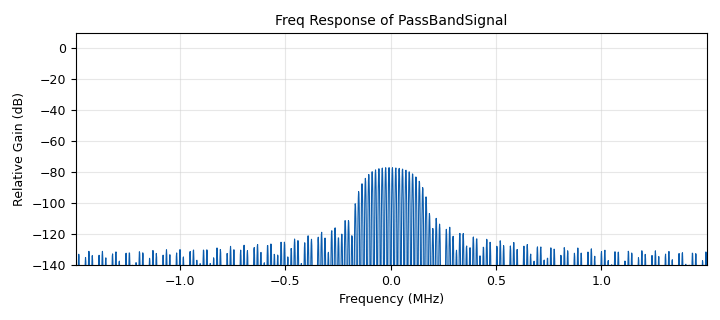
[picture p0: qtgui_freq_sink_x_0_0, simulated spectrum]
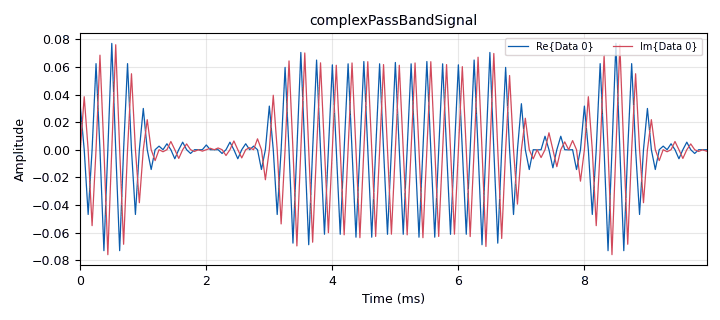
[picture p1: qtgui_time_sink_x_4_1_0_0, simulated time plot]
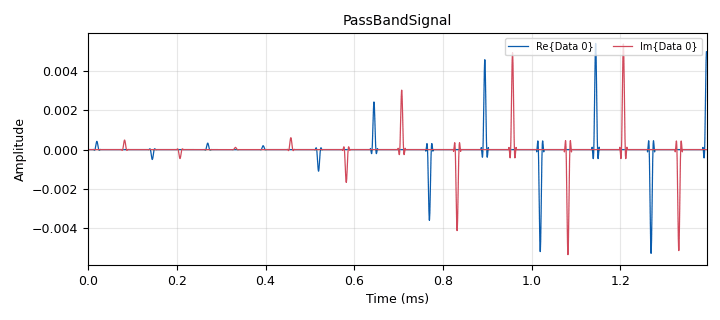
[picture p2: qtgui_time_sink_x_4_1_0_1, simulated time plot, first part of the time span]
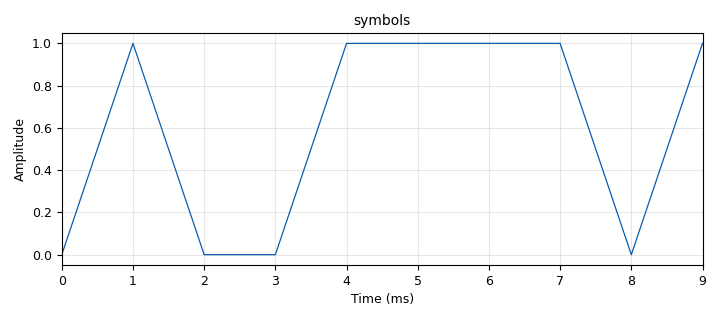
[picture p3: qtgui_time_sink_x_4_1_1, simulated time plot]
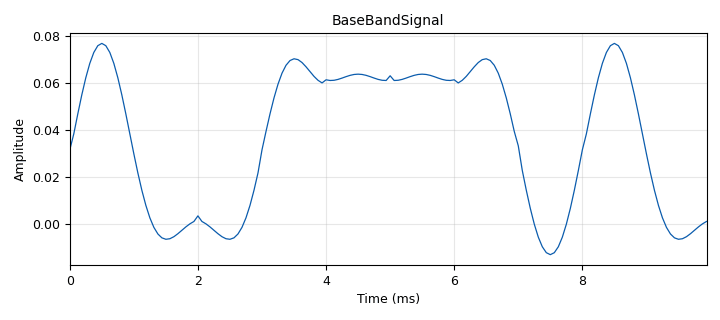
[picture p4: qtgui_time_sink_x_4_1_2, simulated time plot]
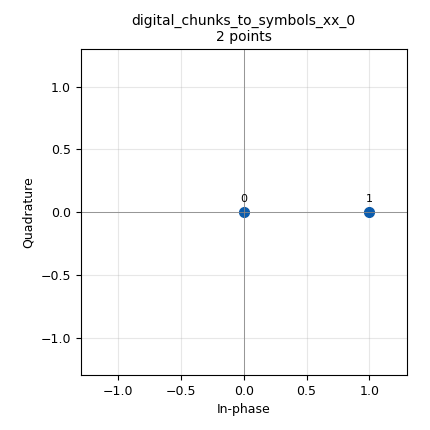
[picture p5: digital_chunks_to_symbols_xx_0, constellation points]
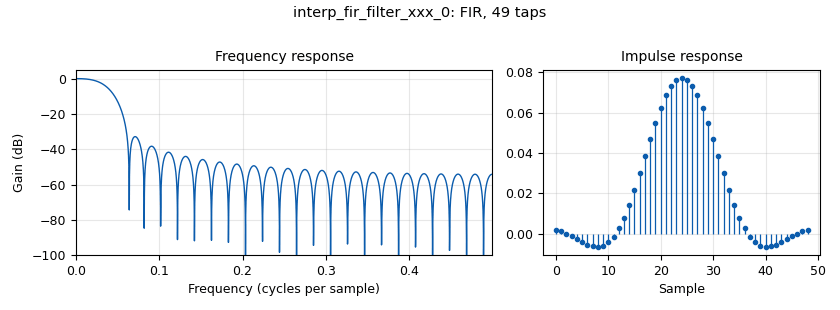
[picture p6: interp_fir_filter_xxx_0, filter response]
options:
  parameters:
    generate_options: qt_gui
    id: ASK_grFlowgraph
    output_language: python
    title: Not titled yet
  states: {}

blocks:
- name: Mhz
  id: variable
  parameters:
    value: 1000*1000
  states: {}
- name: RF_BW
  id: variable
  parameters:
    value: 2*1000*1000
  states: {}
- name: exess_bw
  id: variable
  parameters:
    value: '0.85'
  states: {}
- name: fc
  id: variable
  parameters:
    value: samp_rate/4
  states: {}
- name: interpolation_factor
  id: variable
  parameters:
    value: 8*2
  states: {}
- name: lpf0_taps
  id: variable
  parameters:
    value: numpy.array ( firdes.root_raised_cosine(1,samp_rate,symbol_rate, exess_bw,48 ))
  states: {}
- name: numOfPoints
  id: variable
  parameters:
    value: 10*interpolation_factor
  states: {}
- name: rrc_taps
  id: variable
  parameters:
    value: numpy.array ( firdes.root_raised_cosine(1,samp_rate,symbol_rate, exess_bw,48 ))
  states: {}
- name: samp_rate
  id: variable
  parameters:
    value: int(symbol_rate * interpolation_factor)
  states: {}
- name: symbol_rate
  id: variable
  parameters:
    value: '1000'
  states: {}
- name: analog_sig_source_x_0
  id: analog_sig_source_x
  parameters:
    amp: '1.414'
    freq: fc
    offset: '0'
    phase: '0'
    samp_rate: samp_rate
    type: float
    waveform: analog.GR_COS_WAVE
  states: {state: disabled}
- name: analog_sig_source_x_1
  id: analog_sig_source_x
  parameters:
    amp: '1'
    freq: fc
    offset: '0'
    phase: '0'
    samp_rate: samp_rate
    type: complex
    waveform: analog.GR_COS_WAVE
  states: {}
- name: blocks_float_to_complex_0
  id: blocks_float_to_complex
  parameters: {}
  states: {}
- name: blocks_multiply_xx_0
  id: blocks_multiply_xx
  parameters:
    type: float
  states: {state: disabled}
- name: blocks_multiply_xx_1
  id: blocks_multiply_xx
  parameters:
    type: complex
  states: {}
- name: blocks_null_sink_0
  id: blocks_null_sink
  parameters:
    type: float
  states: {state: disabled}
- name: blocks_throttle2_0
  id: blocks_throttle2
  parameters:
    maximum: '2'
    samples_per_second: symbol_rate
    type: float
  states: {}
- name: blocks_vector_source_x_0
  id: blocks_vector_source_x
  parameters:
    repeat: 'True'
    type: byte
    vector: (0, 1, 0,0,1,1,1,1)
  states: {}
- name: digital_chunks_to_symbols_xx_0
  id: digital_chunks_to_symbols_xx
  parameters:
    dimension: '1'
    in_type: byte
    out_type: float
    symbol_table: '[0,1]'
  states: {}
- name: epy_block_0_0
  id: epy_block
  parameters:
    _source_code: |
      """
      Embedded Python Blocks:

      Each time this file is saved, GRC will instantiate the first class it finds
      to get ports and parameters of your block. The arguments to __init__  will
      be the parameters. All of them are required to have default values!
      """


      import numpy as np
      from gnuradio import gr

      class byte_display_block(gr.sync_block):
          def __init__(self):
              gr.sync_block.__init__(self,
                  name="Byte Display Block",
                  in_sig=[np.uint8],
                  out_sig=None)

          def work(self, input_items, output_items):
              for byte in input_items[0]:
                  print(f"Byte: {byte:08b}")  # Display as 8-bit binary
              return len(input_items[0])
  states: {state: disabled}
- name: iio_pluto_sink_0
  id: iio_pluto_sink
  parameters:
    attenuation1: '40'
    bandwidth: RF_BW
    buffer_size: '32768'
    cyclic: 'False'
    filter_source: '''Auto'''
    frequency: 500*Mhz
    samplerate: samp_rate*187
    type: fc32
  states: {}
- name: iio_pluto_source_0
  id: iio_pluto_source
  parameters:
    bandwidth: RF_BW
    bbdc: 'True'
    buffer_size: '32768'
    filter_source: '''Auto'''
    frequency: 500*Mhz
    gain1: '''manual'''
    manual_gain1: '60'
    quadrature: 'True'
    rfdc: 'True'
    samplerate: samp_rate*187
    type: fc32
  states: {}
- name: import_0
  id: import
  parameters:
    imports: import numpy
  states: {}
- name: interp_fir_filter_xxx_0
  id: interp_fir_filter_xxx
  parameters:
    interp: interpolation_factor
    taps: rrc_taps
    type: fff
  states: {}
- name: low_pass_filter_0
  id: low_pass_filter
  parameters:
    cutoff_freq: '3000'
    decim: '1'
    gain: '1'
    samp_rate: samp_rate*187
    type: fir_filter_ccf
    width: '1000'
    win: window.WIN_HAMMING
  states: {state: disabled}
- name: qtgui_freq_sink_x_0
  id: qtgui_freq_sink_x
  parameters:
    average: '0.05'
    bw: samp_rate
    fc: '0'
    fftsize: 2048*2
    name: '"Freq Response of BaseBandSignal"'
    type: float
    update_time: 2000*2*2
    wintype: window.WIN_BLACKMAN
    ymin: '-14'
  states: {state: disabled}
- name: qtgui_freq_sink_x_0_0
  id: qtgui_freq_sink_x
  parameters:
    bw: 187*samp_rate
    fc: fc
    fftsize: 1024*2
    name: '"Freq Response of PassBandSignal"'
    type: complex
    update_time: '500'
  states: {}
- name: qtgui_freq_sink_x_0_0_0
  id: qtgui_freq_sink_x
  parameters:
    bw: 4*fc
    fc: '0'
    fftsize: 1024*2
    name: '"Freq Response of complex PassBandSignal"'
    type: complex
    update_time: '500'
  states: {state: disabled}
- name: qtgui_freq_sink_x_0_0_1
  id: qtgui_freq_sink_x
  parameters:
    bw: 187* samp_rate
    fc: '0'
    fftsize: 1024*2
    name: '"Freq Response of RX Signal"'
    type: complex
    update_time: '500'
  states: {}
- name: qtgui_freq_sink_x_0_0_1_0
  id: qtgui_freq_sink_x
  parameters:
    bw: 'samp_rate '
    fc: '0'
    fftsize: 1024*2
    name: '"Freq Resp RX downsampled Signal"'
    type: complex
    update_time: '1500'
  states: {}
- name: qtgui_time_sink_x_1_0_0
  id: qtgui_time_sink_x
  parameters:
    autoscale: 'True'
    grid: 'True'
    name: '"RXmodulated Signal"'
    size: numOfPoints*1000
    srate: samp_rate*187
    type: complex
    update_time: '500'
    ymax: '2'
    ymin: '-2'
  states: {state: disabled}
- name: qtgui_time_sink_x_1_0_0_0
  id: qtgui_time_sink_x
  parameters:
    autoscale: 'True'
    grid: 'True'
    name: '"RXmodulated Signal"'
    size: numOfPoints*1000
    srate: samp_rate*187
    type: complex
    update_time: '500'
    ymax: '2'
    ymin: '-2'
  states: {state: disabled}
- name: qtgui_time_sink_x_4_1
  id: qtgui_time_sink_x
  parameters:
    autoscale: 'True'
    grid: 'True'
    name: '"BaseBandSignal"'
    size: numOfPoints
    srate: samp_rate
    type: float
    update_time: 1*1000*4
  states: {state: disabled}
- name: qtgui_time_sink_x_4_1_0
  id: qtgui_time_sink_x
  parameters:
    autoscale: 'True'
    grid: 'True'
    name: '"PassBandSignal"'
    size: numOfPoints
    srate: samp_rate
    type: complex
    update_time: '20'
  states: {state: disabled}
- name: qtgui_time_sink_x_4_1_0_0
  id: qtgui_time_sink_x
  parameters:
    autoscale: 'True'
    grid: 'True'
    name: '"complexPassBandSignal"'
    size: numOfPoints
    srate: samp_rate
    type: complex
    update_time: '20'
  states: {}
- name: qtgui_time_sink_x_4_1_0_1
  id: qtgui_time_sink_x
  parameters:
    autoscale: 'True'
    grid: 'True'
    name: '"PassBandSignal"'
    size: numOfPoints*1000
    srate: samp_rate*187
    type: complex
    update_time: '20'
  states: {}
- name: qtgui_time_sink_x_4_1_1
  id: qtgui_time_sink_x
  parameters:
    autoscale: 'True'
    grid: 'True'
    name: '"symbols"'
    size: '10'
    srate: symbol_rate
    type: float
    update_time: '10'
  states: {}
- name: qtgui_time_sink_x_4_1_2
  id: qtgui_time_sink_x
  parameters:
    autoscale: 'True'
    grid: 'True'
    name: '"BaseBandSignal"'
    size: numOfPoints
    srate: samp_rate
    type: float
    update_time: '1000'
  states: {}
- name: rational_resampler_xxx_0
  id: rational_resampler_xxx
  parameters:
    decim: '1'
    interp: '187'
    taps: lpf0_taps
    type: ccc
  states: {}
- name: rational_resampler_xxx_1
  id: rational_resampler_xxx
  parameters:
    decim: '187'
    interp: '1'
    taps: lpf0_taps
    type: ccc
  states: {}
- name: virtual_sink_1
  id: virtual_sink
  parameters:
    stream_id: BaseBand_AskSignal
  states: {}
- name: virtual_sink_1_0
  id: virtual_sink
  parameters:
    stream_id: Passband_ASKsignal
  states: {state: disabled}
- name: virtual_sink_1_0_0
  id: virtual_sink
  parameters:
    stream_id: Passband_ASKsignal
  states: {}
- name: virtual_source_1
  id: virtual_source
  parameters:
    stream_id: BaseBand_AskSignal
  states: {state: disabled}
- name: virtual_source_1_0
  id: virtual_source
  parameters:
    stream_id: BaseBand_AskSignal
  states: {}
- name: virtual_source_1_0_0
  id: virtual_source
  parameters:
    stream_id: Passband_ASKsignal
  states: {}

connections:
- [analog_sig_source_x_0, '0', blocks_multiply_xx_0, '1']
- [analog_sig_source_x_1, '0', blocks_multiply_xx_1, '0']
- [blocks_float_to_complex_0, '0', blocks_multiply_xx_1, '1']
- [blocks_multiply_xx_0, '0', virtual_sink_1_0, '0']
- [blocks_multiply_xx_1, '0', qtgui_freq_sink_x_0_0_0, '0']
- [blocks_multiply_xx_1, '0', qtgui_time_sink_x_4_1_0_0, '0']
- [blocks_multiply_xx_1, '0', virtual_sink_1_0_0, '0']
- [blocks_throttle2_0, '0', interp_fir_filter_xxx_0, '0']
- [blocks_throttle2_0, '0', qtgui_time_sink_x_4_1_1, '0']
- [blocks_vector_source_x_0, '0', digital_chunks_to_symbols_xx_0, '0']
- [blocks_vector_source_x_0, '0', epy_block_0_0, '0']
- [digital_chunks_to_symbols_xx_0, '0', blocks_throttle2_0, '0']
- [iio_pluto_source_0, '0', low_pass_filter_0, '0']
- [iio_pluto_source_0, '0', qtgui_freq_sink_x_0_0_1, '0']
- [iio_pluto_source_0, '0', qtgui_time_sink_x_1_0_0, '0']
- [iio_pluto_source_0, '0', rational_resampler_xxx_1, '0']
- [interp_fir_filter_xxx_0, '0', blocks_null_sink_0, '0']
- [interp_fir_filter_xxx_0, '0', qtgui_time_sink_x_4_1_2, '0']
- [interp_fir_filter_xxx_0, '0', virtual_sink_1, '0']
- [low_pass_filter_0, '0', qtgui_time_sink_x_1_0_0_0, '0']
- [rational_resampler_xxx_0, '0', iio_pluto_sink_0, '0']
- [rational_resampler_xxx_0, '0', qtgui_freq_sink_x_0_0, '0']
- [rational_resampler_xxx_0, '0', qtgui_time_sink_x_4_1_0_1, '0']
- [rational_resampler_xxx_1, '0', qtgui_freq_sink_x_0_0_1_0, '0']
- [rational_resampler_xxx_1, '0', qtgui_time_sink_x_1_0_0_0, '0']
- [virtual_source_1, '0', qtgui_freq_sink_x_0, '0']
- [virtual_source_1, '0', qtgui_time_sink_x_4_1, '0']
- [virtual_source_1_0, '0', blocks_float_to_complex_0, '0']
- [virtual_source_1_0, '0', blocks_multiply_xx_0, '0']
- [virtual_source_1_0_0, '0', qtgui_time_sink_x_4_1_0, '0']
- [virtual_source_1_0_0, '0', rational_resampler_xxx_0, '0']

metadata:
  file_format: 1
  grc_version: 3.10.11.0
